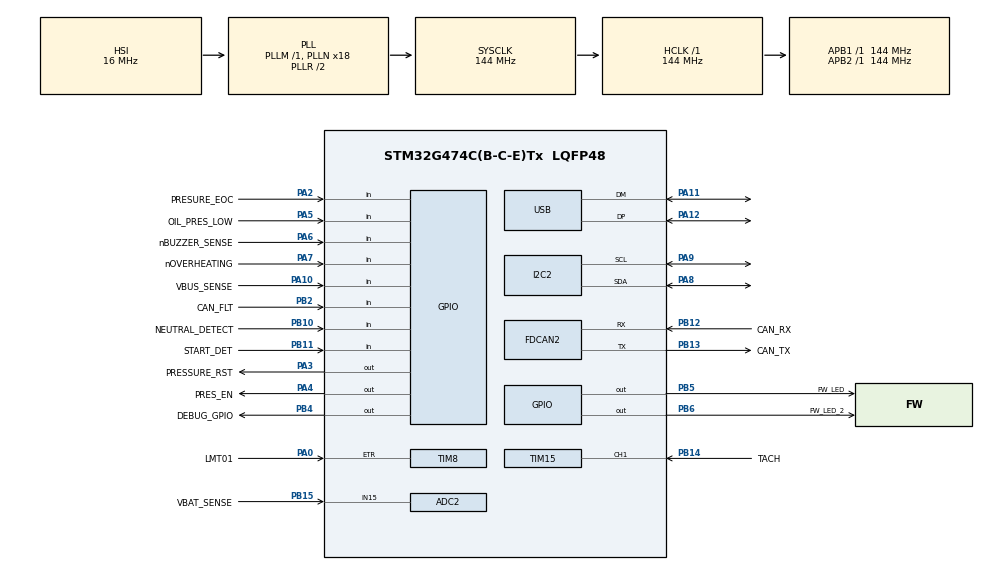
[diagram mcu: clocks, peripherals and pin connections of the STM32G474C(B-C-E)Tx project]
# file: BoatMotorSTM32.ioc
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ADC2.Channel-0\#ChannelRegularConversion=ADC_CHANNEL_15
ADC2.NbrOfConversionFlag=1
ADC2.OffsetNumber-0\#ChannelRegularConversion=ADC_OFFSET_NONE
ADC2.Rank-0\#ChannelRegularConversion=1
ADC2.SamplingTime-0\#ChannelRegularConversion=ADC_SAMPLETIME_2CYCLES_5
FDCAN2.AutoRetransmission=ENABLE
FDCAN2.CalculateBaudRateNominal=2250000
FDCAN2.CalculateTimeBitNominal=444
FDCAN2.CalculateTimeQuantumNominal=27.77777777777778
FDCAN2.DataPrescaler=4
FDCAN2.DataTimeSeg1=13
FDCAN2.DataTimeSeg2=2
FDCAN2.ExtFiltersNbr=0
FDCAN2.FrameFormat=FDCAN_FRAME_CLASSIC
FDCAN2.NominalPrescaler=4
FDCAN2.NominalTimeSeg1=13
FDCAN2.NominalTimeSeg2=2
FDCAN2.StdFiltersNbr=1
I2C2.Timing=0x60715075
Mcu.Family=STM32G4
Mcu.Name=STM32G474C(B-C-E)Tx
Mcu.Package=LQFP48
NVIC.FDCAN2_IT0_IRQn=true\:4\:0\:true\:false\:true\:true\:true\:true
NVIC.I2C2_ER_IRQn=true\:4\:0\:true\:false\:true\:true\:false\:true
NVIC.I2C2_EV_IRQn=true\:4\:0\:true\:false\:true\:true\:false\:true
NVIC.PriorityGroup=NVIC_PRIORITYGROUP_4
NVIC.TIM1_BRK_TIM15_IRQn=true\:4\:0\:true\:false\:true\:true\:true\:true
NVIC.USB_HP_IRQn=true\:0\:0\:false\:false\:true\:true\:false\:true
NVIC.USB_LP_IRQn=true\:0\:0\:false\:false\:true\:true\:false\:true
PA0.GPIO_Label=LMT01
PA0.Signal=S_TIM8_ETR
PA10.GPIO_Label=VBUS_SENSE
PA10.Signal=GPIO_Input
PA11.Mode=Device
PA11.Signal=USB_DM
PA12.Mode=Device
PA12.Signal=USB_DP
PA13.Mode=Serial_Wire
PA13.Signal=SYS_JTMS-SWDIO
PA14.Mode=Serial_Wire
PA14.Signal=SYS_JTCK-SWCLK
PA2.GPIO_Label=PRESURE_EOC
PA2.Signal=GPIO_Input
PA3.GPIO_Label=PRESSURE_RST
PA3.Signal=GPIO_Output
PA4.GPIO_Label=PRES_EN
PA4.Signal=GPIO_Output
PA5.GPIO_Label=OIL_PRES_LOW
PA5.GPIO_PuPd=GPIO_PULLUP
PA5.Signal=GPIO_Input
PA6.GPIO_Label=nBUZZER_SENSE
PA6.GPIO_PuPd=GPIO_PULLUP
PA6.Signal=GPIO_Input
PA7.GPIO_Label=nOVERHEATING
PA7.GPIO_PuPd=GPIO_PULLUP
PA7.Signal=GPIO_Input
PA8.Mode=I2C
PA8.Signal=I2C2_SDA
PA9.Mode=I2C
PA9.Signal=I2C2_SCL
PB10.GPIO_Label=NEUTRAL_DETECT
PB10.GPIO_PuPd=GPIO_PULLUP
PB10.Signal=GPIO_Input
PB11.GPIO_Label=START_DET
PB11.GPIO_PuPd=GPIO_PULLDOWN
PB11.Signal=GPIO_Input
PB12.GPIO_Label=CAN_RX
PB12.GPIO_Speed=GPIO_SPEED_FREQ_VERY_HIGH
PB12.Mode=FDCAN_Activate
PB12.Signal=FDCAN2_RX
PB13.GPIO_Label=CAN_TX
PB13.GPIO_Speed=GPIO_SPEED_FREQ_VERY_HIGH
PB13.Mode=FDCAN_Activate
PB13.Signal=FDCAN2_TX
PB14.GPIO_Label=TACH
PB14.Signal=S_TIM15_CH1
PB15.GPIO_Label=VBAT_SENSE
PB15.Mode=IN15-Single-Ended
PB15.Signal=ADC2_IN15
PB2.GPIO_Label=CAN_FLT
PB2.Signal=GPIO_Input
PB4.GPIO_Label=DEBUG_GPIO
PB4.Signal=GPIO_Output
PB5.GPIO_Label=FW_LED
PB5.Signal=GPIO_Output
PB6.GPIO_Label=FW_LED_2
PB6.Signal=GPIO_Output
ProjectManager.HeapSize=0x000
ProjectManager.StackSize=0x400
ProjectManager.TargetToolchain=EWARM V8.50
RCC.ADC12Freq_Value=144000000
RCC.ADC345Freq_Value=144000000
RCC.AHBFreq_Value=144000000
RCC.APB1Freq_Value=144000000
RCC.APB1TimFreq_Value=144000000
RCC.APB2Freq_Value=144000000
RCC.APB2TimFreq_Value=144000000
RCC.CortexFreq_Value=144000000
RCC.EXTERNAL_CLOCK_VALUE=12288000
RCC.HCLKFreq_Value=144000000
RCC.HSE_VALUE=16000000
RCC.HSI48_VALUE=48000000
RCC.HSI_VALUE=16000000
RCC.LSE_VALUE=32768
RCC.PLLN=18
RCC.PLLP=RCC_PLLP_DIV5
RCC.PLLQ=RCC_PLLQ_DIV6
RCC.SYSCLKFreq_VALUE=144000000
RCC.SYSCLKSource=RCC_SYSCLKSOURCE_PLLCLK
RCC.USBFreq_Value=48000000
RCC.VCOOutputFreq_Value=288000000
SH.S_TIM15_CH1.0=TIM15_CH1,Input_Capture1_from_TI1
SH.S_TIM15_CH1.1=TIM15_CH1,TriggerSource_TI1FP1
SH.S_TIM8_ETR.0=TIM8_ETR,ClockSourceETR_Mode2
STMicroelectronics.X-CUBE-ALGOBUILD.1.4.0.LibraryCcDSPOoLibraryJjDSPOoLibrary=true
SYS.VoltageScaling=SYSCFG_VREFBUF_VOLTAGE_SCALE2
TIM15.Channel-Input_Capture1_from_TI1=TIM_CHANNEL_1
TIM15.Prescaler=71
VP_STMicroelectronics.X-CUBE-ALGOBUILD_VS_DSPOoLibraryJjLibrary_1.4.0_1.4.0.Mode=DSPOoLibraryJjLibrary
VP_SYS_VS_DBSignals.Mode=DisableDeadBatterySignals
VP_TIM15_VS_ClockSourceINT.Mode=Internal
VP_TIM15_VS_ControllerModeReset.Mode=Reset Mode
VREF+.Mode=InternalMode
VREF+.Signal=VREFBUF_OUT
board=custom

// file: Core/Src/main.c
/* USER CODE BEGIN Header */
/**
 ******************************************************************************
 * @file           : main.c
 * @brief          : Main program body
 ******************************************************************************
 * @attention
 *
 * Copyright (c) 2024 STMicroelectronics.
 * All rights reserved.
 *
 * This software is licensed under terms that can be found in the LICENSE file
 * in the root directory of this software component.
 * If no LICENSE file comes with this software, it is provided AS-IS.
 *
 ******************************************************************************
 */
/* USER CODE END Header */
#include "main.h"

/* USER CODE BEGIN Includes */

#include "LMT01.h"
#include "blinky.h"
#include "box_to_box.h"
#include "bsp.h"
#include "cli.h"
#include "config.h"
#include "director.h"
#include "fram.h"
#include "log_com.h"
#include "posted_signals.h"
#include "pressure_sensor.h"
#include "qpc.h"
#include "reset.h"
#include "shared_i2c.h"
#include "shared_i2c_events.h"
#include "usb.h"
#include <stdbool.h>
#include <stdio.h>
#include <stdlib.h>
#include <string.h>

/* USER CODE END Includes */

/* USER CODE BEGIN PTD */

// QP Priorities for Active Objects must be unique
// Lower number is lower priority
// 0 is reserved, lowest available is 1
typedef enum
{
    AO_RESERVED = 0U,
    AO_PRIO_BLINKY,
    AO_PRIO_APP_CLI,
    AO_PRIO_CONFIG,
    AO_PRIO_FRAM,
    AO_PRIO_LOG_COM,
    AO_PRIO_DIRECTOR,
    AO_PRIO_LMT01,
    AO_PRIO_PRESSURE,
    AO_PRIO_SHARED_I2C2,
    AO_PRIO_BOX_TO_BOX,
    AO_PRIO_USB,
} AO_Priority_T;

extern const QActive *AO_SharedI2C2;

typedef struct
{
    union
    {
        QEvt base_event;
        FloatEvent_T float_event;
    } small_messages;
} SmallMessageUnion_T;
typedef struct
{
    union
    {
        QEvt someMultipleQEvt[4];
        DebugForceFaultEvent_T fault_event;
        FramReadReqEvent_T fram_read_req_event;
        ConfigEntryChangedEvent_T config_entry_changed_event;
    } medium_messages;
} MediumMessageUnion_T;
typedef struct
{
    union
    {
        QEvt base_event;
        FaultGeneratedEvent_T fault_event;
        FramReadRespEvent_T fram_read_resp_event;
        FramWriteReqEvent_T fram_write_req_event;
    } large_messages;
} LongMessageUnion_T;

/* USER CODE END PTD */

ADC_HandleTypeDef hadc2;

FDCAN_HandleTypeDef hfdcan2;

I2C_HandleTypeDef hi2c2;

TIM_HandleTypeDef htim8;
TIM_HandleTypeDef htim15;

PCD_HandleTypeDef hpcd_USB_FS;

void SystemClock_Config(void);
static void MX_GPIO_Init(void);
static void MX_USB_PCD_Init(void);
static void MX_I2C2_Init(void);
static void MX_TIM8_Init(void);
static void MX_ADC2_Init(void);
static void MX_TIM15_Init(void);
static void MX_FDCAN2_Init(void);

int main(void)
{
    /* USER CODE BEGIN 1 */
    Reset_Init();
    QF_init(); // initialize the framework and the underlying RT kernel
    /* USER CODE END 1 */

    /* MCU Configuration--------------------------------------------------------*/

    /* Reset of all peripherals, Initializes the Flash interface and the Systick. */
    HAL_Init();

    /* Configure the system clock */
    SystemClock_Config();

    /* USER CODE BEGIN SysInit */

    // IN CUBEMX, BE SURE TO SET INTERRUPT PRIORITY FOR ALL "QP AWARE" INTERRUPTS TO AT LEAST 4
    // SINCE QF_AWARE_ISR_CMSIS_PRI is 3

    /* USER CODE END SysInit */

    /* Initialize all configured peripherals */
    MX_GPIO_Init();
    MX_USB_PCD_Init();
    MX_I2C2_Init();
    MX_TIM8_Init();
    MX_ADC2_Init();
    MX_TIM15_Init();
    MX_FDCAN2_Init();
    /* USER CODE BEGIN 2 */

    uint16_t priority = QF_AWARE_ISR_CMSIS_PRI;
    (void) priority; // be sure to set your QP aware interrupt priority in Cube MX to at least this

    BSP_Init();

    size_t smallsize  = sizeof(SmallMessageUnion_T);
    size_t mediumsize = sizeof(MediumMessageUnion_T);
    size_t largesize  = sizeof(LongMessageUnion_T);
    (void) smallsize;
    (void) mediumsize;
    (void) largesize;

    // initialize event pools
    static QF_MPOOL_EL(SmallMessageUnion_T) smlPoolSto[10];
    QF_poolInit(smlPoolSto, sizeof(smlPoolSto), sizeof(smlPoolSto[0]));

    static QF_MPOOL_EL(MediumMessageUnion_T) mediumPoolSto[20];
    QF_poolInit(mediumPoolSto, sizeof(mediumPoolSto), sizeof(mediumPoolSto[0]));

    static QF_MPOOL_EL(LongMessageUnion_T) longPoolSto[20];
    QF_poolInit(longPoolSto, sizeof(longPoolSto), sizeof(longPoolSto[0]));

    // initialize publish-subscribe
    static QSubscrList subscrSto[PUBSUB_MAX_SIG];
    QActive_psInit(subscrSto, Q_DIM(subscrSto));

    // instantiate and start AOs/threads...

    static QEvt const *blinkyQueueSto[10];
    Blinky_ctor();
    QACTIVE_START(
        AO_Blinky,
        AO_PRIO_BLINKY,        // QP prio. of the AO
        blinkyQueueSto,        // event queue storage
        Q_DIM(blinkyQueueSto), // queue length [events]
        (void *) 0,
        0U,          // no stack storage
        (void *) 0); // no initialization param

    static QEvt const *shared_i2c1_QueueSto[10];
    // AO_SharedI2C constructor is called in BSP_Init
    QACTIVE_START(
        AO_SharedI2C2,
        AO_PRIO_SHARED_I2C2,         // QP prio. of the AO
        shared_i2c1_QueueSto,        // event queue storage
        Q_DIM(shared_i2c1_QueueSto), // queue length [events]
        (void *) 0,                  // stack storage (not used in QK)
        0U,                          // stack size [bytes] (not used in QK)
        (void *) 0);                 // no initialization param

    // static QEvt const *PressureQueueSto[10];
    // Pressure_Sensor_ctor(BSP_Get_I2C_Write_Pressure(), BSP_Get_I2C_Read_Pressure());
    // QACTIVE_START(
    //     AO_Pressure,
    //     AO_PRIO_PRESSURE,        // QP prio. of the AO
    //     PressureQueueSto,        // event queue storage
    //     Q_DIM(PressureQueueSto), // queue length [events]
    //     (void *) 0,
    //     0U,          // no stack storage
    //     (void *) 0); // no initialization param

    static QEvt const *LMT01QueueSto[10];
    LMT01_ctor();
    QACTIVE_START(
        AO_LMT01,
        AO_PRIO_LMT01,        // QP prio. of the AO
        LMT01QueueSto,        // event queue storage
        Q_DIM(LMT01QueueSto), // queue length [events]
        (void *) 0,
        0U,          // no stack storage
        (void *) 0); // no initialization param

    static QEvt const *box_to_box_QueueSto[20];
    Box_To_Box_ctor();
    QACTIVE_START(
        AO_BOX_TO_BOX,
        AO_PRIO_BOX_TO_BOX,         // QP prio. of the AO
        box_to_box_QueueSto,        // event queue storage
        Q_DIM(box_to_box_QueueSto), // queue length [events]
        (void *) 0,                 // stack storage (not used in QK)
        0U,                         // stack size [bytes] (not used in QK)
        (void *) 0);                // no initialization param

    static QEvt const *config_QueueSto[10];
    Config_ctor();
    QACTIVE_START(
        AO_Config,
        AO_PRIO_CONFIG,         // QP prio. of the AO
        config_QueueSto,        // event queue storage
        Q_DIM(config_QueueSto), // queue length [events]
        (void *) 0,
        0U,
        (void *) 0);

    static QEvt const *fram_QueueSto[10];
    Fram_ctor(BSP_Get_I2C_Write_FRAM(), BSP_Get_I2C_Memory_Read_FRAM());
    QACTIVE_START(
        AO_Fram,
        AO_PRIO_FRAM,         // QP prio. of the AO
        fram_QueueSto,        // event queue storage
        Q_DIM(fram_QueueSto), // queue length [events]
        (void *) 0,
        0U,
        (void *) 0);

    static QEvt const *DirectorQueueSto[10];
    Director_ctor();
    QACTIVE_START(
        AO_Director,
        AO_PRIO_DIRECTOR,        // QP prio. of the AO
        DirectorQueueSto,        // event queue storage
        Q_DIM(DirectorQueueSto), // queue length [events]
        (void *) 0,
        0U,          // no stack storage
        (void *) 0); // no initialization param

    static QEvt const *app_cli_QueueSto[10];
    AppCLI_ctor(BSP_Get_Serial_IO_Interface_USB0());
    QACTIVE_START(
        AO_AppCLI,
        AO_PRIO_APP_CLI,         // QP prio. of the AO
        app_cli_QueueSto,        // event queue storage
        Q_DIM(app_cli_QueueSto), // queue length [events]
        (void *) 0,              // stack storage (not used in QK)
        0U,                      // stack size [bytes] (not used in QK)
        (void *) 0);             // no initialization param

    static QEvt const *log_com_QueueSto[20];
    LogCom_ctor(BSP_Get_Serial_IO_Interface_USB1());
    QACTIVE_START(
        AO_LogCom,
        AO_PRIO_LOG_COM,         // QP prio. of the AO
        log_com_QueueSto,        // event queue storage
        Q_DIM(log_com_QueueSto), // queue length [events]
        (void *) 0,              // stack storage (not used in QK)
        0U,                      // stack size [bytes] (not used in QK)
        (void *) 0);             // no initialization param

    static QEvt const *usb_QueueSto[10];
    USB_ctor();
    QACTIVE_START(
        AO_USB,
        AO_PRIO_USB,         // QP prio. of the AO
        usb_QueueSto,        // event queue storage
        Q_DIM(usb_QueueSto), // queue length [events]
        (void *) 0,          // stack storage (not used in QK)
        0U,                  // stack size [bytes] (not used in QK)
        (void *) 0);         // no initialization param

    return QF_run(); // run the QF application
                     /* USER CODE END 2 */

    /* Infinite loop */
    /* USER CODE BEGIN WHILE */
    // while (1)
    // {
    /* USER CODE END WHILE */

}

void SystemClock_Config(void)
{
    RCC_OscInitTypeDef RCC_OscInitStruct = {0};
    RCC_ClkInitTypeDef RCC_ClkInitStruct = {0};

    /** Configure the main internal regulator output voltage
     */
    HAL_PWREx_ControlVoltageScaling(PWR_REGULATOR_VOLTAGE_SCALE1);

    /** Initializes the RCC Oscillators according to the specified parameters
     * in the RCC_OscInitTypeDef structure.
     */
    RCC_OscInitStruct.OscillatorType      = RCC_OSCILLATORTYPE_HSI;
    RCC_OscInitStruct.HSIState            = RCC_HSI_ON;
    RCC_OscInitStruct.HSICalibrationValue = RCC_HSICALIBRATION_DEFAULT;
    RCC_OscInitStruct.PLL.PLLState        = RCC_PLL_ON;
    RCC_OscInitStruct.PLL.PLLSource       = RCC_PLLSOURCE_HSI;
    RCC_OscInitStruct.PLL.PLLM            = RCC_PLLM_DIV1;
    RCC_OscInitStruct.PLL.PLLN            = 18;
    RCC_OscInitStruct.PLL.PLLP            = RCC_PLLP_DIV5;
    RCC_OscInitStruct.PLL.PLLQ            = RCC_PLLQ_DIV6;
    RCC_OscInitStruct.PLL.PLLR            = RCC_PLLR_DIV2;
    if (HAL_RCC_OscConfig(&RCC_OscInitStruct) != HAL_OK)
    {
        Error_Handler();
    }

    /** Initializes the CPU, AHB and APB buses clocks
     */
    RCC_ClkInitStruct.ClockType = RCC_CLOCKTYPE_HCLK | RCC_CLOCKTYPE_SYSCLK | RCC_CLOCKTYPE_PCLK1 |
        RCC_CLOCKTYPE_PCLK2;
    RCC_ClkInitStruct.SYSCLKSource   = RCC_SYSCLKSOURCE_PLLCLK;
    RCC_ClkInitStruct.AHBCLKDivider  = RCC_SYSCLK_DIV1;
    RCC_ClkInitStruct.APB1CLKDivider = RCC_HCLK_DIV1;
    RCC_ClkInitStruct.APB2CLKDivider = RCC_HCLK_DIV1;

    if (HAL_RCC_ClockConfig(&RCC_ClkInitStruct, FLASH_LATENCY_4) != HAL_OK)
    {
        Error_Handler();
    }
}

static void MX_ADC2_Init(void)
{

    ADC_ChannelConfTypeDef sConfig = {0};

    /** Common config
     */
    hadc2.Instance                   = ADC2;
    hadc2.Init.ClockPrescaler        = ADC_CLOCK_SYNC_PCLK_DIV4;
    hadc2.Init.Resolution            = ADC_RESOLUTION_12B;
    hadc2.Init.DataAlign             = ADC_DATAALIGN_RIGHT;
    hadc2.Init.GainCompensation      = 0;
    hadc2.Init.ScanConvMode          = ADC_SCAN_DISABLE;
    hadc2.Init.EOCSelection          = ADC_EOC_SINGLE_CONV;
    hadc2.Init.LowPowerAutoWait      = DISABLE;
    hadc2.Init.ContinuousConvMode    = DISABLE;
    hadc2.Init.NbrOfConversion       = 1;
    hadc2.Init.DiscontinuousConvMode = DISABLE;
    hadc2.Init.ExternalTrigConv      = ADC_SOFTWARE_START;
    hadc2.Init.ExternalTrigConvEdge  = ADC_EXTERNALTRIGCONVEDGE_NONE;
    hadc2.Init.DMAContinuousRequests = DISABLE;
    hadc2.Init.Overrun               = ADC_OVR_DATA_PRESERVED;
    hadc2.Init.OversamplingMode      = DISABLE;
    if (HAL_ADC_Init(&hadc2) != HAL_OK)
    {
        Error_Handler();
    }

    /** Configure Regular Channel
     */
    sConfig.Channel      = ADC_CHANNEL_15;
    sConfig.Rank         = ADC_REGULAR_RANK_1;
    sConfig.SamplingTime = ADC_SAMPLETIME_2CYCLES_5;
    sConfig.SingleDiff   = ADC_SINGLE_ENDED;
    sConfig.OffsetNumber = ADC_OFFSET_NONE;
    sConfig.Offset       = 0;
    if (HAL_ADC_ConfigChannel(&hadc2, &sConfig) != HAL_OK)
    {
        Error_Handler();
    }
}

static void MX_FDCAN2_Init(void)
{

    hfdcan2.Instance                  = FDCAN2;
    hfdcan2.Init.ClockDivider         = FDCAN_CLOCK_DIV1;
    hfdcan2.Init.FrameFormat          = FDCAN_FRAME_FD_NO_BRS;
    hfdcan2.Init.Mode                 = FDCAN_MODE_NORMAL;
    hfdcan2.Init.AutoRetransmission   = ENABLE;
    hfdcan2.Init.TransmitPause        = DISABLE;
    hfdcan2.Init.ProtocolException    = DISABLE;
    hfdcan2.Init.NominalPrescaler     = 4;
    hfdcan2.Init.NominalSyncJumpWidth = 1;
    hfdcan2.Init.NominalTimeSeg1      = 13;
    hfdcan2.Init.NominalTimeSeg2      = 2;
    hfdcan2.Init.DataPrescaler        = 4;
    hfdcan2.Init.DataSyncJumpWidth    = 1;
    hfdcan2.Init.DataTimeSeg1         = 13;
    hfdcan2.Init.DataTimeSeg2         = 2;
    hfdcan2.Init.StdFiltersNbr        = 1;
    hfdcan2.Init.ExtFiltersNbr        = 0;
    hfdcan2.Init.TxFifoQueueMode      = FDCAN_TX_FIFO_OPERATION;
    if (HAL_FDCAN_Init(&hfdcan2) != HAL_OK)
    {
        Error_Handler();
    }
}

static void MX_I2C2_Init(void)
{

    hi2c2.Instance              = I2C2;
    hi2c2.Init.Timing           = 0x60715075;
    hi2c2.Init.OwnAddress1      = 0;
    hi2c2.Init.AddressingMode   = I2C_ADDRESSINGMODE_7BIT;
    hi2c2.Init.DualAddressMode  = I2C_DUALADDRESS_DISABLE;
    hi2c2.Init.OwnAddress2      = 0;
    hi2c2.Init.OwnAddress2Masks = I2C_OA2_NOMASK;
    hi2c2.Init.GeneralCallMode  = I2C_GENERALCALL_DISABLE;
    hi2c2.Init.NoStretchMode    = I2C_NOSTRETCH_DISABLE;
    if (HAL_I2C_Init(&hi2c2) != HAL_OK)
    {
        Error_Handler();
    }

    /** Configure Analogue filter
     */
    if (HAL_I2CEx_ConfigAnalogFilter(&hi2c2, I2C_ANALOGFILTER_ENABLE) != HAL_OK)
    {
        Error_Handler();
    }

    /** Configure Digital filter
     */
    if (HAL_I2CEx_ConfigDigitalFilter(&hi2c2, 0) != HAL_OK)
    {
        Error_Handler();
    }
}

static void MX_TIM8_Init(void)
{

    TIM_ClockConfigTypeDef sClockSourceConfig = {0};
    TIM_MasterConfigTypeDef sMasterConfig     = {0};

    htim8.Instance               = TIM8;
    htim8.Init.Prescaler         = 0;
    htim8.Init.CounterMode       = TIM_COUNTERMODE_UP;
    htim8.Init.Period            = 65535;
    htim8.Init.ClockDivision     = TIM_CLOCKDIVISION_DIV1;
    htim8.Init.RepetitionCounter = 0;
    htim8.Init.AutoReloadPreload = TIM_AUTORELOAD_PRELOAD_DISABLE;
    if (HAL_TIM_Base_Init(&htim8) != HAL_OK)
    {
        Error_Handler();
    }
    sClockSourceConfig.ClockSource    = TIM_CLOCKSOURCE_ETRMODE2;
    sClockSourceConfig.ClockPolarity  = TIM_CLOCKPOLARITY_NONINVERTED;
    sClockSourceConfig.ClockPrescaler = TIM_CLOCKPRESCALER_DIV1;
    sClockSourceConfig.ClockFilter    = 0;
    if (HAL_TIM_ConfigClockSource(&htim8, &sClockSourceConfig) != HAL_OK)
    {
        Error_Handler();
    }
    sMasterConfig.MasterOutputTrigger  = TIM_TRGO_RESET;
    sMasterConfig.MasterOutputTrigger2 = TIM_TRGO2_RESET;
    sMasterConfig.MasterSlaveMode      = TIM_MASTERSLAVEMODE_DISABLE;
    if (HAL_TIMEx_MasterConfigSynchronization(&htim8, &sMasterConfig) != HAL_OK)
    {
        Error_Handler();
    }
}

static void MX_TIM15_Init(void)
{

    TIM_ClockConfigTypeDef sClockSourceConfig = {0};
    TIM_SlaveConfigTypeDef sSlaveConfig       = {0};
    TIM_MasterConfigTypeDef sMasterConfig     = {0};
    TIM_IC_InitTypeDef sConfigIC              = {0};

    htim15.Instance               = TIM15;
    htim15.Init.Prescaler         = 71;
    htim15.Init.CounterMode       = TIM_COUNTERMODE_UP;
    htim15.Init.Period            = 65535;
    htim15.Init.ClockDivision     = TIM_CLOCKDIVISION_DIV1;
    htim15.Init.RepetitionCounter = 0;
    htim15.Init.AutoReloadPreload = TIM_AUTORELOAD_PRELOAD_DISABLE;
    if (HAL_TIM_Base_Init(&htim15) != HAL_OK)
    {
        Error_Handler();
    }
    sClockSourceConfig.ClockSource = TIM_CLOCKSOURCE_INTERNAL;
    if (HAL_TIM_ConfigClockSource(&htim15, &sClockSourceConfig) != HAL_OK)
    {
        Error_Handler();
    }
    if (HAL_TIM_IC_Init(&htim15) != HAL_OK)
    {
        Error_Handler();
    }
    sSlaveConfig.SlaveMode       = TIM_SLAVEMODE_RESET;
    sSlaveConfig.InputTrigger    = TIM_TS_TI1FP1;
    sSlaveConfig.TriggerPolarity = TIM_INPUTCHANNELPOLARITY_RISING;
    sSlaveConfig.TriggerFilter   = 0;
    if (HAL_TIM_SlaveConfigSynchro(&htim15, &sSlaveConfig) != HAL_OK)
    {
        Error_Handler();
    }
    sMasterConfig.MasterOutputTrigger = TIM_TRGO_RESET;
    sMasterConfig.MasterSlaveMode     = TIM_MASTERSLAVEMODE_DISABLE;
    if (HAL_TIMEx_MasterConfigSynchronization(&htim15, &sMasterConfig) != HAL_OK)
    {
        Error_Handler();
    }
    sConfigIC.ICPolarity  = TIM_INPUTCHANNELPOLARITY_RISING;
    sConfigIC.ICSelection = TIM_ICSELECTION_DIRECTTI;
    sConfigIC.ICPrescaler = TIM_ICPSC_DIV1;
    sConfigIC.ICFilter    = 0;
    if (HAL_TIM_IC_ConfigChannel(&htim15, &sConfigIC, TIM_CHANNEL_1) != HAL_OK)
    {
        Error_Handler();
    }
}

static void MX_USB_PCD_Init(void)
{

    hpcd_USB_FS.Instance                     = USB;
    hpcd_USB_FS.Init.dev_endpoints           = 8;
    hpcd_USB_FS.Init.speed                   = PCD_SPEED_FULL;
    hpcd_USB_FS.Init.phy_itface              = PCD_PHY_EMBEDDED;
    hpcd_USB_FS.Init.Sof_enable              = DISABLE;
    hpcd_USB_FS.Init.low_power_enable        = DISABLE;
    hpcd_USB_FS.Init.lpm_enable              = DISABLE;
    hpcd_USB_FS.Init.battery_charging_enable = DISABLE;
    if (HAL_PCD_Init(&hpcd_USB_FS) != HAL_OK)
    {
        Error_Handler();
    }
}

static void MX_GPIO_Init(void)
{
    GPIO_InitTypeDef GPIO_InitStruct = {0};

    /* GPIO Ports Clock Enable */
    __HAL_RCC_GPIOA_CLK_ENABLE();
    __HAL_RCC_GPIOB_CLK_ENABLE();

    /*Configure GPIO pin Output Level */
    HAL_GPIO_WritePin(GPIOA, PRESSURE_RST_Pin | PRES_EN_Pin, GPIO_PIN_RESET);

    /*Configure GPIO pin Output Level */
    HAL_GPIO_WritePin(GPIOB, DEBUG_GPIO_Pin | FW_LED_Pin | FW_LED_2_Pin, GPIO_PIN_RESET);

    /*Configure GPIO pins : PRESURE_EOC_Pin VBUS_SENSE_Pin */
    GPIO_InitStruct.Pin  = PRESURE_EOC_Pin | VBUS_SENSE_Pin;
    GPIO_InitStruct.Mode = GPIO_MODE_INPUT;
    GPIO_InitStruct.Pull = GPIO_NOPULL;
    HAL_GPIO_Init(GPIOA, &GPIO_InitStruct);

    /*Configure GPIO pins : PRESSURE_RST_Pin PRES_EN_Pin */
    GPIO_InitStruct.Pin   = PRESSURE_RST_Pin | PRES_EN_Pin;
    GPIO_InitStruct.Mode  = GPIO_MODE_OUTPUT_PP;
    GPIO_InitStruct.Pull  = GPIO_NOPULL;
    GPIO_InitStruct.Speed = GPIO_SPEED_FREQ_LOW;
    HAL_GPIO_Init(GPIOA, &GPIO_InitStruct);

    /*Configure GPIO pins : OIL_PRES_LOW_Pin nBUZZER_SENSE_Pin nOVERHEATING_Pin */
    GPIO_InitStruct.Pin  = OIL_PRES_LOW_Pin | nBUZZER_SENSE_Pin | nOVERHEATING_Pin;
    GPIO_InitStruct.Mode = GPIO_MODE_INPUT;
    GPIO_InitStruct.Pull = GPIO_PULLUP;
    HAL_GPIO_Init(GPIOA, &GPIO_InitStruct);

    /*Configure GPIO pin : CAN_FLT_Pin */
    GPIO_InitStruct.Pin  = CAN_FLT_Pin;
    GPIO_InitStruct.Mode = GPIO_MODE_INPUT;
    GPIO_InitStruct.Pull = GPIO_NOPULL;
    HAL_GPIO_Init(CAN_FLT_GPIO_Port, &GPIO_InitStruct);

    /*Configure GPIO pin : NEUTRAL_DETECT_Pin */
    GPIO_InitStruct.Pin  = NEUTRAL_DETECT_Pin;
    GPIO_InitStruct.Mode = GPIO_MODE_INPUT;
    GPIO_InitStruct.Pull = GPIO_PULLUP;
    HAL_GPIO_Init(NEUTRAL_DETECT_GPIO_Port, &GPIO_InitStruct);

    /*Configure GPIO pin : START_DET_Pin */
    GPIO_InitStruct.Pin  = START_DET_Pin;
    GPIO_InitStruct.Mode = GPIO_MODE_INPUT;
    GPIO_InitStruct.Pull = GPIO_PULLDOWN;
    HAL_GPIO_Init(START_DET_GPIO_Port, &GPIO_InitStruct);

    /*Configure GPIO pins : DEBUG_GPIO_Pin FW_LED_Pin FW_LED_2_Pin */
    GPIO_InitStruct.Pin   = DEBUG_GPIO_Pin | FW_LED_Pin | FW_LED_2_Pin;
    GPIO_InitStruct.Mode  = GPIO_MODE_OUTPUT_PP;
    GPIO_InitStruct.Pull  = GPIO_NOPULL;
    GPIO_InitStruct.Speed = GPIO_SPEED_FREQ_LOW;
    HAL_GPIO_Init(GPIOB, &GPIO_InitStruct);

}

void Error_Handler(void)
{
    __disable_irq();
    while (1)
    {
    }
}
